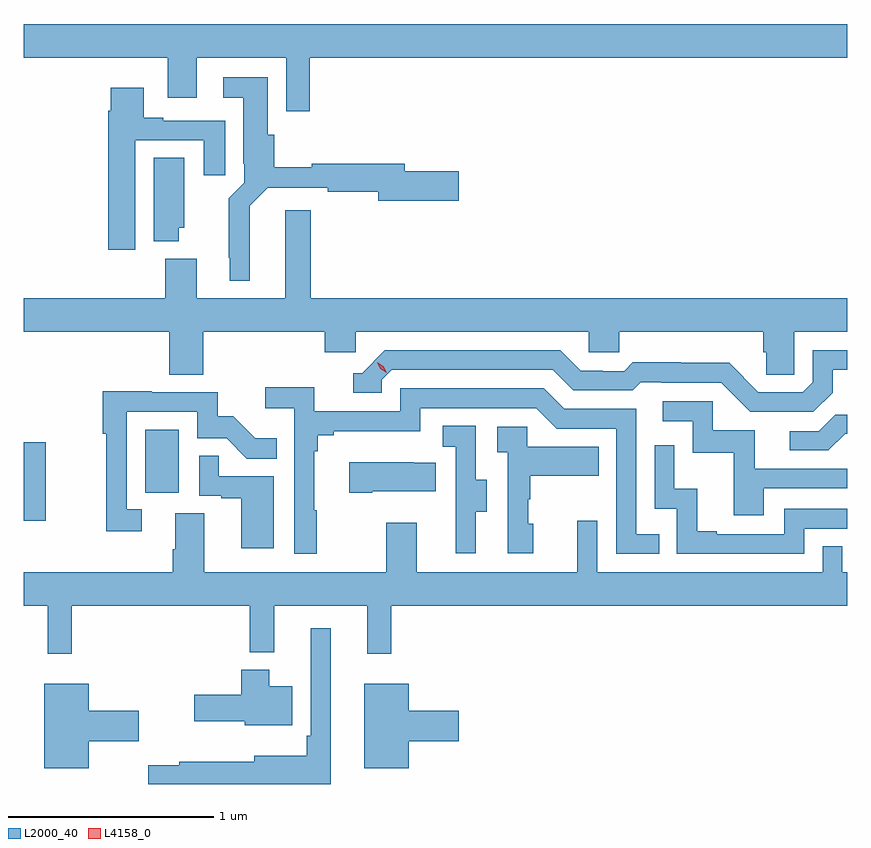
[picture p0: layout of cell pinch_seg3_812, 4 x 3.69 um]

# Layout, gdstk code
import gdstk
lib = gdstk.Library(unit=1e-6, precision=1e-09)
def R(c, l, rs):  # rectangles x0, y0, x1, y1
    for r in rs: c.add(gdstk.rectangle(r[:2], r[2:], *l))
def P(c, l, *ps):  # polygons
    for p in ps: c.add(gdstk.Polygon(p, *l))
L2000_40 = (2000, 40)
L4158_0 = (4158, 0)

pinch_seg3_812 = lib.new_cell('pinch_seg3_812')
R(pinch_seg3_812, L2000_40, [(862.255,721.311,862.36,721.692), (862.844,721.446,863.008,721.753)])
P(pinch_seg3_812, L2000_40, [(863.645,723.56),(866.255,723.56),(866.255,723.724),(862.255,723.724),(862.255,723.56),(862.955,723.56),(862.955,723.366),(863.095,723.366),(863.095,723.56),(863.529,723.56),(863.529,723.3),(863.645,723.3)],
  [(863.353,722.84),(863.44,722.928),(863.731,722.928),(863.731,722.908),(863.978,722.908),(863.978,722.866),(864.367,722.866),(864.367,723.008),(864.106,723.008),(864.106,723.044),(863.654,723.044),(863.654,723.029),(863.471,723.029),(863.471,723.186),(863.44,723.186),(863.44,723.466),(863.223,723.466),(863.223,723.365),(863.321,723.365),(863.321,723.046),(863.325,723.046),(863.325,722.952),(863.251,722.878),(863.251,722.587),(863.255,722.587),(863.255,722.477),(863.353,722.477)],
  [(862.795,723.159),(863.129,723.159),(863.129,722.988),(863.233,722.988),(863.233,723.255),(862.933,723.255),(862.933,723.268),(862.837,723.268),(862.837,723.415),(862.676,723.415),(862.676,723.302),(862.664,723.302),(862.664,722.628),(862.795,722.628)],
  [(863.008,722.733),(863.035,722.733),(863.035,723.074),(862.886,723.074),(862.886,722.669),(863.008,722.669)],
  [(863.126,722.228),(863.717,722.228),(863.717,722.13),(863.868,722.13),(863.868,722.228),(864.999,722.228),(864.999,722.13),(865.149,722.13),(865.149,722.228),(865.847,722.228),(865.847,722.13),(865.861,722.13),(865.861,722.02),(865.998,722.02),(865.998,722.228),(866.255,722.228),(866.255,722.392),(863.648,722.392),(863.648,722.818),(863.525,722.818),(863.525,722.392),(863.095,722.392),(863.095,722.584),(862.943,722.584),(862.943,722.392),(862.255,722.392),(862.255,722.228),(862.961,722.228),(862.961,722.02),(863.126,722.02)],
  [(866.185,721.933),(866.185,722.043),(866.255,722.043),(866.255,722.139),(866.088,722.139),(866.088,721.983),(866.04,721.935),(865.824,721.935),(865.682,722.077),(865.446,722.077),(865.446,722.08),(865.213,722.08),(865.171,722.037),(865.068,722.037),(865.068,722.04),(864.961,722.04),(864.862,722.139),(864.009,722.139),(863.898,722.028),(863.855,722.028),(863.855,721.932),(863.994,721.932),(863.994,721.995),(864.042,722.043),(864.825,722.043),(864.924,721.944),(865.213,721.944),(865.252,721.983),(865.351,721.983),(865.351,721.98),(865.644,721.98),(865.785,721.839),(866.091,721.839)],
  [(863.677,721.361),(863.665,721.361),(863.665,721.649),(863.684,721.649),(863.684,721.726),(863.761,721.726),(863.761,721.745),(864.18,721.745),(864.18,721.857),(864.744,721.857),(864.843,721.758),(865.134,721.758),(865.134,721.149),(865.343,721.149),(865.343,721.245),(865.23,721.245),(865.23,721.854),(864.88,721.854),(864.781,721.953),(864.084,721.953),(864.084,721.842),(863.666,721.842),(863.666,721.958),(863.427,721.958),(863.427,721.856),(863.568,721.856),(863.568,721.149),(863.677,721.149)],
  [(862.828,721.365),(862.755,721.365),(862.755,721.839),(863.097,721.839),(863.097,721.71),(863.241,721.71),(863.339,721.612),(863.483,721.612),(863.483,721.711),(863.379,721.711),(863.272,721.818),(863.196,721.818),(863.196,721.935),(862.877,721.935),(862.877,721.94),(862.639,721.94),(862.639,721.732),(862.654,721.732),(862.654,721.26),(862.828,721.26)],
  [(865.849,721.467),(866.255,721.467),(866.255,721.563),(865.807,721.563),(865.807,721.749),(865.602,721.749),(865.602,721.89),(865.359,721.89),(865.359,721.794),(865.506,721.794),(865.506,721.641),(865.705,721.641),(865.705,721.338),(865.849,721.338)],
  [(866.245,721.734),(866.255,721.734),(866.255,721.826),(866.198,721.826),(866.118,721.746),(865.977,721.746),(865.977,721.653),(866.164,721.653)],
  [(864.451,721.354),(864.505,721.354),(864.505,721.509),(864.45,721.509),(864.45,721.772),(864.291,721.772),(864.291,721.669),(864.354,721.669),(864.354,721.365),(864.353,721.365),(864.353,721.152),(864.451,721.152)],
  [(864.73,721.296),(864.705,721.296),(864.705,721.415),(864.715,721.415),(864.715,721.529),(865.049,721.529),(865.049,721.669),(864.702,721.669),(864.702,721.767),(864.555,721.767),(864.555,721.643),(864.606,721.643),(864.606,721.152),(864.73,721.152)],
  [(866.046,721.272),(866.255,721.272),(866.255,721.368),(865.95,721.368),(865.95,721.245),(865.621,721.245),(865.621,721.258),(865.526,721.258),(865.526,721.466),(865.416,721.466),(865.416,721.678),(865.32,721.678),(865.32,721.368),(865.428,721.368),(865.428,721.149),(866.046,721.149)],
  [(863.47,721.527),(863.201,721.527),(863.201,721.625),(863.106,721.625),(863.106,721.431),(863.213,721.431),(863.213,721.419),(863.312,721.419),(863.312,721.176),(863.47,721.176)],
  [(863.947,721.454),(864.257,721.454),(864.257,721.591),(864.149,721.591),(864.149,721.594),(863.835,721.594),(863.835,721.447),(863.947,721.447)],
  [(862.487,720.896),(863.353,720.896),(863.353,720.671),(863.471,720.671),(863.471,720.896),(863.924,720.896),(863.924,720.663),(864.041,720.663),(864.041,720.896),(866.255,720.896),(866.255,721.06),(866.232,721.06),(866.232,721.187),(866.136,721.187),(866.136,721.06),(865.041,721.06),(865.041,721.309),(864.944,721.309),(864.944,721.06),(864.163,721.06),(864.163,721.3),(864.016,721.3),(864.016,721.06),(863.131,721.06),(863.131,721.346),(862.991,721.346),(862.991,721.172),(862.979,721.172),(862.979,721.06),(862.255,721.06),(862.255,720.896),(862.37,720.896),(862.37,720.663),(862.487,720.663)],
  [(863.746,720.787),(863.649,720.787),(863.649,720.265),(863.629,720.265),(863.629,720.169),(863.375,720.169),(863.375,720.14),(863.009,720.14),(863.009,720.122),(862.86,720.122),(862.86,720.031),(863.746,720.031)],
  [(863.56,720.505),(863.446,720.505),(863.446,720.586),(863.312,720.586),(863.312,720.465),(863.082,720.465),(863.082,720.335),(863.328,720.335),(863.328,720.317),(863.56,720.317)],
  [(864.124,720.239),(864.367,720.239),(864.367,720.386),(864.124,720.386),(864.124,720.517),(863.909,720.517),(863.909,720.107),(864.124,720.107)],
  [(862.57,720.239),(862.813,720.239),(862.813,720.386),(862.57,720.386),(862.57,720.517),(862.355,720.517),(862.355,720.107),(862.57,720.107)])
P(pinch_seg3_812, L4158_0, [(864.018,722.029),(863.987,722.049),(863.971,722.081),(863.971,722.081),(863.971,722.081),(864.002,722.062),(864.018,722.029),(864.018,722.029)])

lib.write_gds('pinch_seg3_812.gds')
